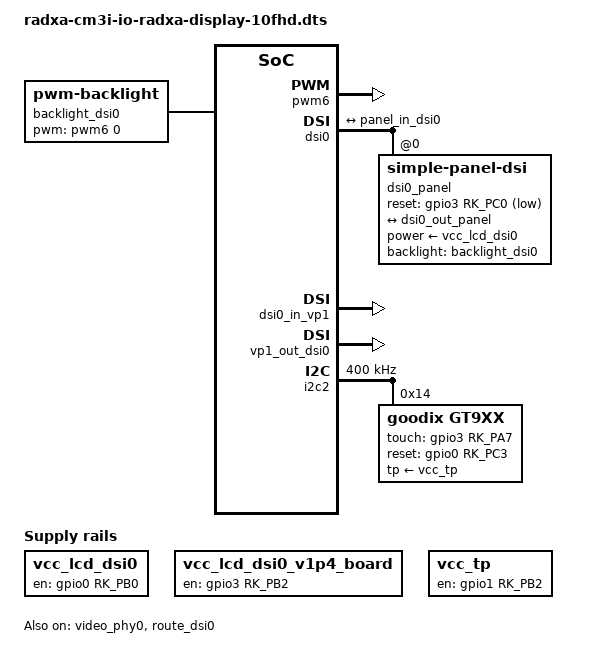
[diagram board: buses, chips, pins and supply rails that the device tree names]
/dts-v1/;
/plugin/;

#include <dt-bindings/gpio/gpio.h>
#include <dt-bindings/pinctrl/rockchip.h>
#include <dt-bindings/display/drm_mipi_dsi.h>
#include "dt-bindings/display/drm_mipi_dsi_overlay.h"
#include <dt-bindings/interrupt-controller/irq.h>
#include <dt-bindings/pwm/pwm.h>

/ {
	metadata {
		title = "Enable Radxa Display 10FHD";
		compatible = "radxa,cm3i-io";
		category = "display";
		exclusive = "dsi0", "vp1";
		description = "Enable Radxa Display 10FHD.";
	};
};

&{/} {
	vcc_lcd_dsi0: vcc-lcd-dsi0 {
		status = "okay";
		compatible = "regulator-fixed";
		regulator-name = "vcc_lcd_mipi";
		gpio = <&gpio0 RK_PB0 GPIO_ACTIVE_HIGH>;
		enable-active-high;
		regulator-always-on;
		regulator-state-mem {
			regulator-off-in-suspend;
		};
	};

	vcc_lcd_dsi0_v1p4_board: vcc-lcd-dsi0-v1p4-board {
		status = "okay";
		compatible = "regulator-fixed";
		regulator-name = "vcc_lcd_mipi_v1p4_board";
		gpio = <&gpio3 RK_PB2 GPIO_ACTIVE_HIGH>;
		enable-active-high;
		regulator-always-on;
		regulator-state-mem {
			regulator-off-in-suspend;
		};
	};

	vcc_tp: vcc-tp {
		status = "okay";
		compatible = "regulator-fixed";
		regulator-name = "vcc_tp";
		gpio = <&gpio1 RK_PB2 GPIO_ACTIVE_HIGH>;
		enable-active-high;
		regulator-always-on;
		regulator-state-mem {
			regulator-off-in-suspend;
		};
	};

	backlight_dsi0: backlight-dsi0 {
		status = "okay";
		compatible = "pwm-backlight";
		pwms = <&pwm6 0 25000 PWM_POLARITY_INVERTED>;
		brightness-levels = <0 255>;
		num-interpolated-steps = <255>;
		default-brightness-level = <200>;
	};
};

&pwm6 {
	status = "okay";
};

&dsi0 {
	status = "okay";
	#address-cells = <1>;
	#size-cells = <0>;

	dsi0_panel: panel@0 {
		status = "okay";
		compatible = "simple-panel-dsi";
		reg = <0>;
		backlight = <&backlight_dsi0>;

		power-supply = <&vcc_lcd_dsi0>;
		reset-gpios = <&gpio3 RK_PC0 GPIO_ACTIVE_LOW>;
		pinctrl-names = "default";
		pinctrl-0 = <&dsi0_lcd_rst_gpio>;

		prepare-delay-ms = <120>;
		reset-delay-ms = <120>;
		init-delay-ms = <120>;
		enable-delay-ms = <100>;
		disable-delay-ms = <120>;
		unprepare-delay-ms = <120>;

		width-mm = <135>;
		height-mm = <217>;

		dsi,flags = <(MIPI_DSI_MODE_VIDEO | MIPI_DSI_MODE_VIDEO_BURST |
			MIPI_DSI_MODE_LPM | MIPI_DSI_MODE_EOT_PACKET)>;
		dsi,format = <MIPI_DSI_FMT_RGB888>;
		dsi,lanes = <4>;

		panel-init-sequence = [
			05 78 01 11
			05 00 01 29
		];

		panel-exit-sequence = [
			05 00 01 28
			05 00 01 10
		];

				display-timings {
			native-mode = <&timing0>;
			timing0: timing0 {
				clock-frequency = <120000000>;
				hactive = <1200>;
				vactive = <1920>;

				vback-porch = <25>;
				vfront-porch = <35>;

				hback-porch = <40>;
				hfront-porch = <40>;

				hsync-len = <1>;
				vsync-len = <1>;

				vsync-active = <0>;
				hsync-active = <0>;
				de-active = <0>;
				pixelclk-active = <0>;
			};
		};

		ports {
			#address-cells = <1>;
			#size-cells = <0>;

			port@0 {
				reg = <0>;
				panel_in_dsi0: endpoint {
					remote-endpoint = <&dsi0_out_panel>;
				};
			};
		};
	};

	ports {
		#address-cells = <1>;
		#size-cells = <0>;

		port@1 {
			reg = <1>;
			dsi0_out_panel: endpoint {
				remote-endpoint = <&panel_in_dsi0>;
			};
		};
	};
};

&video_phy0 {
	status = "okay";
};

&dsi0_in_vp0 {
	status = "disabled";
};

&dsi0_in_vp1 {
	status = "okay";
};

&vp0_out_dsi0{
	status = "disabled";
};

&vp1_out_dsi0 {
	status = "okay";
};

&route_dsi0 {
	status = "okay";
	connect = <&vp1_out_dsi0>;
};

&i2c2 {
	status = "okay";
	pinctrl-0 = <&i2c2m0_xfer>;
	clock-frequency = <400000>;
	#address-cells = <1>;
	#size-cells = <0>;

	gt9xx: gt9xx@14 {
		status = "okay";
		compatible = "goodix,gt9xx";
		reg = <0x14>;
		pinctrl-names = "default";
		pinctrl-0 = <&gt9xx_gpio>;
		touch-gpio = <&gpio3 RK_PA7 IRQ_TYPE_LEVEL_HIGH>;
		reset-gpio = <&gpio0 RK_PC3 GPIO_ACTIVE_HIGH>;
		max-x = <1200>;
		max-y = <1920>;
		tp-size = <9271>;
		tp-supply = <&vcc_tp>;
	};
};

&pinctrl {
	dsi0-lcd {
		dsi0_lcd_rst_gpio: dsi0-lcd-rst-gpio {
			rockchip,pins = <3 RK_PC0 RK_FUNC_GPIO &pcfg_pull_up>;
		};
	};

	gt9xx {
		gt9xx_gpio: gt9xx-gpio {
			rockchip,pins =
			<0 RK_PC3 RK_FUNC_GPIO &pcfg_pull_up>,
			<3 RK_PA7 RK_FUNC_GPIO &pcfg_pull_none>;
		};
	};
};
